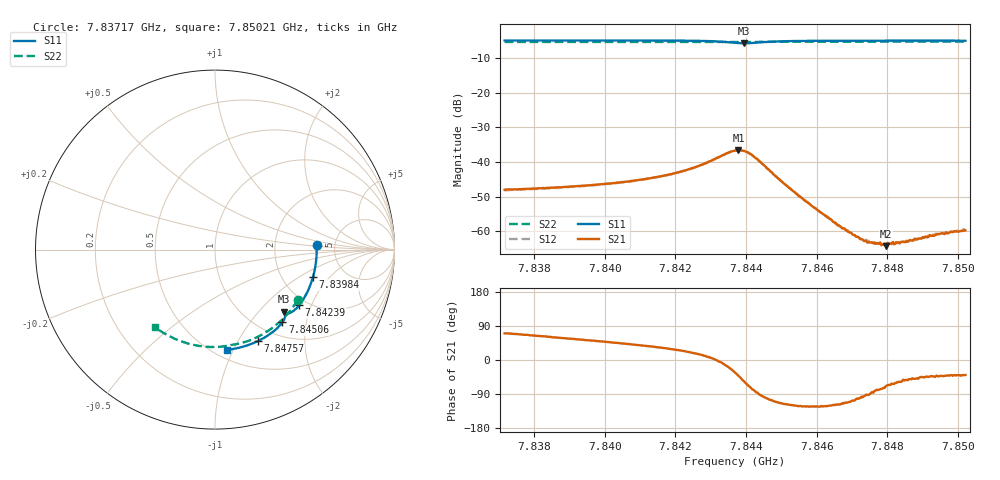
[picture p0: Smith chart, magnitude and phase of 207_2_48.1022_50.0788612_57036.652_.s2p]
#  HZ  S  RI  R  50.00
! Rohde & Schwarz Vector Network Analyzer
! Rohde-Schwarz,ZNB20-2Port,1311601062101988,3.16
! Created: UTC 12/23/2023, 3:55:22 AM
! freq[Hz]  re:S11  im:S11  re:S21  im:S21  re:S12  im:S12  re:S22  im:S22
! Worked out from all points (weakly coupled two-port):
!   401 points, 7.83717 GHz to 7.85021 GHz, reference 50 ohm
!   highest |S21| = -36.57 dB at 7.84379 GHz (marker M1); lowest = -64.3 dB at 7.84796 GHz (marker M2)
!   lowest |S11| = -5.7 dB at 7.84395 GHz (marker M3), VSWR 3.13, Z = 73.1 - j69.1 ohm
!   |S11| at or under -10 dB: nowhere
!   |S22| runs from -5.4 to -5.3 dB; largest |S21 - S12| = 0.0003
!   S11 on the Smith chart (normalised r, x): 7.83717 GHz: 3.59, +0.26; 7.83984 GHz: 2.96, -1.33; 7.84239 GHz: 1.81, -1.64; 7.84506 GHz: 1.25, -1.46; 7.84757 GHz: 0.81, -1.21; 7.85021 GHz: 0.58, -0.95
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7.837172e9  0.5657 0.0245  0.00134 0.00373  0.00129 0.00364  0.4611 -0.2803
7.839355e9  0.5541 -0.12  0.00269 0.00366  0.00266 0.0036  0.3648 -0.3987
7.839844e9  0.546 -0.152  0.00309 0.00359  0.00304 0.00357  0.3389 -0.4209
7.841538e9  0.5025 -0.2593  0.00513 0.00338  0.00509 0.00338  0.2392 -0.4855
7.842385e9  0.4689 -0.3104  0.00735 0.00284  0.00728 0.00284  0.1844 -0.5089
7.8432e9  0.4205 -0.3515  0.0115 -0.000404  0.0114 -0.000446  0.1292 -0.5249
7.843689e9  0.3862 -0.3538  0.0123 -0.00797  0.0123 -0.00786  0.0966 -0.5304
7.843786e9  0.3825 -0.351  0.0111 -0.00985  0.011 -0.00975  0.0903 -0.5312
7.843949e9  0.3823 -0.3465  0.00787 -0.0121  0.00791 -0.012  0.0801 -0.5329
7.844275e9  0.3902 -0.3537  0.00111 -0.0112  0.00133 -0.0112  0.0591 -0.5371
7.845057e9  0.3753 -0.4055  -0.00215 -0.00447  -0.00212 -0.00452  0.00449 -0.5426
7.845872e9  0.335 -0.4483  -0.00123 -0.00193  -0.00125 -0.00198  -0.053 -0.5411
7.846621e9  0.2933 -0.4793  -0.000558 -0.00107  -0.000569 -0.00109  -0.1051 -0.5339
7.847077e9  0.2664 -0.4953  -0.000251 -0.000841  -0.000227 -0.00084  -0.1366 -0.5269
7.847403e9  0.247 -0.5057  -1.41e-05 -0.000721  -6.16e-05 -0.000754  -0.1587 -0.5209
7.847566e9  0.2371 -0.5105  6.51e-05 -0.000692  3.9e-05 -0.000694  -0.1695 -0.5176
7.847957e9  0.2131 -0.5211  0.00022 -0.000568  0.000217 -0.000607  -0.1954 -0.5086
7.848055e9  0.2069 -0.5237  0.000272 -0.000602  0.000278 -0.00062  -0.2019 -0.5061
7.84825e9  0.1946 -0.5282  0.00034 -0.000605  0.000339 -0.000583  -0.2146 -0.501
7.848772e9  0.1616 -0.5392  0.000504 -0.000598  0.000491 -0.000577  -0.2477 -0.4857
7.849358e9  0.1237 -0.5491  0.000631 -0.000619  0.000657 -0.000647  -0.2839 -0.4661
7.850205e9  0.0681 -0.5584  0.000792 -0.000654  0.000763 -0.000675  -0.3331 -0.4327
